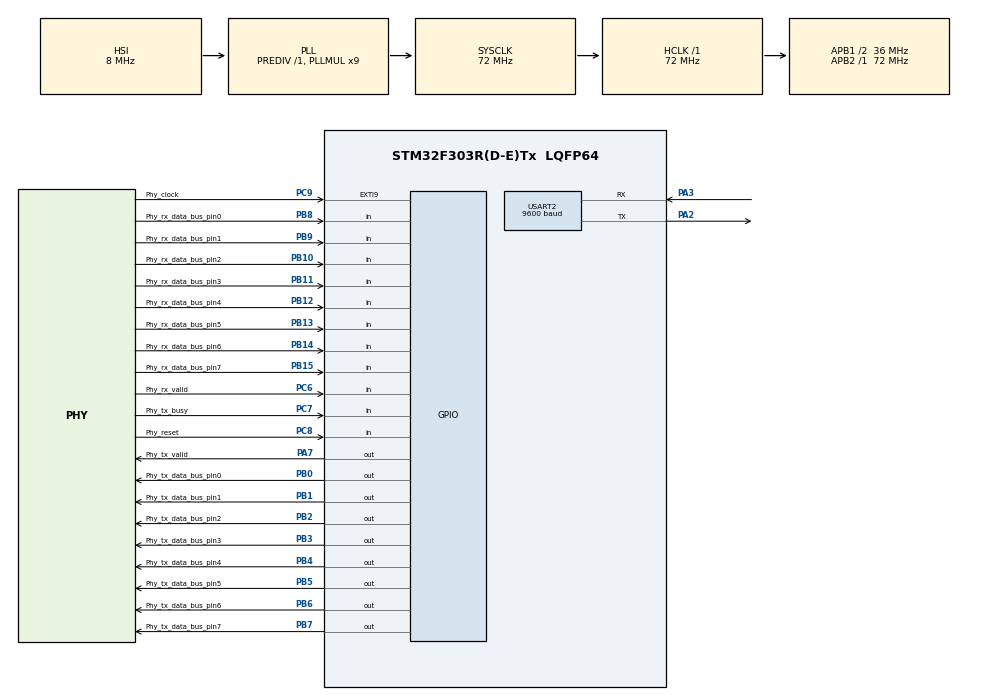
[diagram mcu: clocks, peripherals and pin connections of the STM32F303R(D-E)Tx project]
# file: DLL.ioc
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Mcu.Family=STM32F3
Mcu.Name=STM32F303R(D-E)Tx
Mcu.Package=LQFP64
Mcu.UserConstants=PSC_2KHZ,36000;ARR_2HZ,1000
NVIC.EXTI9_5_IRQn=true\:0\:0\:false\:true\:false\:1\:true
NVIC.PriorityGroup=NVIC_PRIORITYGROUP_4
NVIC.TIM2_IRQn=true\:0\:0\:false\:false\:true\:true
NVIC.TIM3_IRQn=true\:0\:0\:false\:false\:true\:true
NVIC.USART2_IRQn=true\:0\:0\:false\:true\:false\:2\:true
PA13.Mode=Serial_Wire
PA13.Signal=SYS_JTMS-SWDIO
PA14.Mode=Serial_Wire
PA14.Signal=SYS_JTCK-SWCLK
PA2.Mode=Asynchronous
PA2.Signal=USART2_TX
PA3.Mode=Asynchronous
PA3.Signal=USART2_RX
PA7.GPIO_Label=Phy_tx_valid
PA7.GPIO_ModeDefaultOutputPP=GPIO_MODE_OUTPUT_PP
PA7.GPIO_PuPd=GPIO_PULLDOWN
PA7.GPIO_Speed=GPIO_SPEED_FREQ_HIGH
PA7.Signal=GPIO_Output
PB0.GPIO_Label=Phy_tx_data_bus_pin0
PB0.GPIO_ModeDefaultOutputPP=GPIO_MODE_OUTPUT_PP
PB0.GPIO_PuPd=GPIO_PULLDOWN
PB0.GPIO_Speed=GPIO_SPEED_FREQ_HIGH
PB0.Signal=GPIO_Output
PB1.GPIO_Label=Phy_tx_data_bus_pin1
PB1.GPIO_PuPd=GPIO_PULLDOWN
PB1.GPIO_Speed=GPIO_SPEED_FREQ_HIGH
PB1.Signal=GPIO_Output
PB10.GPIO_Label=Phy_rx_data_bus_pin2
PB10.GPIO_PuPd=GPIO_PULLDOWN
PB10.Signal=GPIO_Input
PB11.GPIO_Label=Phy_rx_data_bus_pin3
PB11.GPIO_PuPd=GPIO_PULLDOWN
PB11.Signal=GPIO_Input
PB12.GPIO_Label=Phy_rx_data_bus_pin4
PB12.GPIO_PuPd=GPIO_PULLDOWN
PB12.Signal=GPIO_Input
PB13.GPIO_Label=Phy_rx_data_bus_pin5
PB13.GPIO_PuPd=GPIO_PULLDOWN
PB13.Signal=GPIO_Input
PB14.GPIO_Label=Phy_rx_data_bus_pin6
PB14.GPIO_PuPd=GPIO_PULLDOWN
PB14.Signal=GPIO_Input
PB15.GPIO_Label=Phy_rx_data_bus_pin7
PB15.GPIO_PuPd=GPIO_PULLDOWN
PB15.Signal=GPIO_Input
PB2.GPIO_Label=Phy_tx_data_bus_pin2
PB2.GPIO_PuPd=GPIO_PULLDOWN
PB2.GPIO_Speed=GPIO_SPEED_FREQ_HIGH
PB2.Signal=GPIO_Output
PB3.GPIO_Label=Phy_tx_data_bus_pin3
PB3.GPIO_PuPd=GPIO_PULLDOWN
PB3.GPIO_Speed=GPIO_SPEED_FREQ_HIGH
PB3.Signal=GPIO_Output
PB4.GPIO_Label=Phy_tx_data_bus_pin4
PB4.GPIO_PuPd=GPIO_PULLDOWN
PB4.GPIO_Speed=GPIO_SPEED_FREQ_HIGH
PB4.Signal=GPIO_Output
PB5.GPIO_Label=Phy_tx_data_bus_pin5
PB5.GPIO_PuPd=GPIO_PULLDOWN
PB5.GPIO_Speed=GPIO_SPEED_FREQ_HIGH
PB5.Signal=GPIO_Output
PB6.GPIO_Label=Phy_tx_data_bus_pin6
PB6.GPIO_PuPd=GPIO_PULLDOWN
PB6.GPIO_Speed=GPIO_SPEED_FREQ_HIGH
PB6.Signal=GPIO_Output
PB7.GPIO_Label=Phy_tx_data_bus_pin7
PB7.GPIO_PuPd=GPIO_PULLDOWN
PB7.GPIO_Speed=GPIO_SPEED_FREQ_HIGH
PB7.Signal=GPIO_Output
PB8.GPIO_Label=Phy_rx_data_bus_pin0
PB8.GPIO_PuPd=GPIO_PULLDOWN
PB8.Signal=GPIO_Input
PB9.GPIO_Label=Phy_rx_data_bus_pin1
PB9.GPIO_PuPd=GPIO_PULLDOWN
PB9.Signal=GPIO_Input
PC6.GPIO_Label=Phy_rx_valid
PC6.GPIO_PuPd=GPIO_PULLDOWN
PC6.Signal=GPIO_Input
PC7.GPIO_Label=Phy_tx_busy
PC7.GPIO_PuPd=GPIO_PULLDOWN
PC7.Signal=GPIO_Input
PC8.GPIO_Label=Phy_reset
PC8.GPIO_PuPd=GPIO_PULLDOWN
PC8.Signal=GPIO_Input
PC9.GPIO_Label=Phy_clock
PC9.GPIO_ModeDefaultEXTI=GPIO_MODE_IT_RISING_FALLING
PC9.GPIO_PuPd=GPIO_PULLDOWN
PC9.Signal=GPXTI9
ProjectManager.HeapSize=0xe000
ProjectManager.StackSize=0x1400
ProjectManager.TargetToolchain=MDK-ARM V5
RCC.AHBFreq_Value=72000000
RCC.APB1CLKDivider=RCC_HCLK_DIV2
RCC.APB1Freq_Value=36000000
RCC.APB1TimFreq_Value=72000000
RCC.APB2Freq_Value=72000000
RCC.APB2TimFreq_Value=72000000
RCC.CortexFreq_Value=72000000
RCC.HCLKFreq_Value=72000000
RCC.HSE_VALUE=8000000
RCC.HSI_VALUE=8000000
RCC.LSE_VALUE=32768
RCC.PLLMUL=RCC_PLL_MUL9
RCC.SYSCLKFreq_VALUE=72000000
RCC.SYSCLKSourceVirtual=RCC_SYSCLKSOURCE_PLLCLK
RCC.USBFreq_Value=72000000
TIM2.Period=6999999
TIM2.Prescaler=999
TIM3.Period=999
TIM3.Prescaler=917
USART2.BaudRate=9600
USART2.VirtualMode-Asynchronous=VM_ASYNC
USART2.WordLength=WORDLENGTH_8B
VP_CRC_VS_CRC.Mode=CRC_Activate
VP_TIM2_VS_ClockSourceINT.Mode=Internal
VP_TIM3_VS_ClockSourceINT.Mode=Internal
board=DLL

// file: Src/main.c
/**
  ******************************************************************************
  * @file           : main.c
  * @brief          : Main program body
  ******************************************************************************
  ** This notice applies to any and all portions of this file
  * that are not between comment pairs USER CODE BEGIN and
  * USER CODE END. Other portions of this file, whether
  * inserted by the user or by software development tools
  * are owned by their respective copyright owners.
  *
  * COPYRIGHT(c) 2020 STMicroelectronics
  *
  * Redistribution and use in source and binary forms, with or without modification,
  * are permitted provided that the following conditions are met:
  *   1. Redistributions of source code must retain the above copyright notice,
  *      this list of conditions and the following disclaimer.
  *   2. Redistributions in binary form must reproduce the above copyright notice,
  *      this list of conditions and the following disclaimer in the documentation
  *      and/or other materials provided with the distribution.
  *   3. Neither the name of STMicroelectronics nor the names of its contributors
  *      may be used to endorse or promote products derived from this software
  *      without specific prior written permission.
  *
  * THIS SOFTWARE IS PROVIDED BY THE COPYRIGHT HOLDERS AND CONTRIBUTORS "AS IS"
  * AND ANY EXPRESS OR IMPLIED WARRANTIES, INCLUDING, BUT NOT LIMITED TO, THE
  * IMPLIED WARRANTIES OF MERCHANTABILITY AND FITNESS FOR A PARTICULAR PURPOSE ARE
  * DISCLAIMED. IN NO EVENT SHALL THE COPYRIGHT HOLDER OR CONTRIBUTORS BE LIABLE
  * FOR ANY DIRECT, INDIRECT, INCIDENTAL, SPECIAL, EXEMPLARY, OR CONSEQUENTIAL
  * DAMAGES (INCLUDING, BUT NOT LIMITED TO, PROCUREMENT OF SUBSTITUTE GOODS OR
  * SERVICES; LOSS OF USE, DATA, OR PROFITS; OR BUSINESS INTERRUPTION) HOWEVER
  * CAUSED AND ON ANY THEORY OF LIABILITY, WHETHER IN CONTRACT, STRICT LIABILITY,
  * OR TORT (INCLUDING NEGLIGENCE OR OTHERWISE) ARISING IN ANY WAY OUT OF THE USE
  * OF THIS SOFTWARE, EVEN IF ADVISED OF THE POSSIBILITY OF SUCH DAMAGE.
  *
  ******************************************************************************
  */
#include "main.h"
#include "stm32f3xx_hal.h"

/* USER CODE BEGIN Includes */
#include <stdlib.h>
#include "Ethernet.h"
#include "template.h"
//#include <stdio.h>
//#include <time.h>

#define DEBUG debug()
#define payload_error  11
#define crc_error 12
#define frame_size_error 13
#define clear 14

/* USER CODE END Includes */

CRC_HandleTypeDef hcrc;

TIM_HandleTypeDef htim2;
TIM_HandleTypeDef htim3;

UART_HandleTypeDef huart2;

/* USER CODE BEGIN PV */
/* Private variables ---------------------------------------------------------*/
uint32_t payload_size=0;
int ifg_tx_flag=1;
int ifg_rx_flag=0;
static int rrand=0;
uint8_t crc =0; ;
int ready_for_llc=0;
static Ethernet_res frame_build ;
static uint8_t new_frame[1522];
int times_out =0;
static int got_ack=0;
static int sub_llc_ready=0;
Ethernet_req* temp;
uint8_t myMAC[] ={0xcc,0xcc,0xcc,0xcc,0xcc,0xcc}; 	//Our MAC address
uint8_t PSN =0;
uint8_t ACK =0;
int llc_Rx_ready=0;
static int type =0;
Ethernet_req* ack_frame;

/* USER CODE END PV */

void SystemClock_Config(void);
static void MX_GPIO_Init(void);
static void MX_USART2_UART_Init(void);
static void MX_CRC_Init(void);
static void MX_TIM2_Init(void);
static void MX_TIM3_Init(void);
static void MX_NVIC_Init(void);

/* USER CODE BEGIN PFP */
/* Private function prototypes -----------------------------------------------*/
//for debug
	uint8_t tx_data_wire = 0;
	uint8_t tx_vld_wire = 0;
	uint8_t phy_clk_wire = 0;
	uint8_t phy_busy_wire = 0;
	uint8_t phy_reset_wire = 0;
	uint8_t rx_data_wire = 0;
	uint8_t rx_vld_wire = 0;

void debug(void)
{
	 tx_data_wire = (uint8_t)((Phy_tx_data_bus_pin0_GPIO_Port->IDR) & 0x0FF);
	 tx_vld_wire = (uint8_t)HAL_GPIO_ReadPin(Phy_tx_valid_GPIO_Port, Phy_tx_valid_Pin);
	 phy_clk_wire = (uint8_t)HAL_GPIO_ReadPin(Phy_clock_GPIO_Port, Phy_clock_Pin);
	 phy_busy_wire = (uint8_t)HAL_GPIO_ReadPin(Phy_tx_busy_GPIO_Port, Phy_tx_busy_Pin);
	 phy_reset_wire = (uint8_t)HAL_GPIO_ReadPin(Phy_reset_GPIO_Port, Phy_reset_Pin);
	 rx_data_wire = (uint8_t)((Phy_rx_data_bus_pin0_GPIO_Port->IDR)>>8);
	 rx_vld_wire = (uint8_t)HAL_GPIO_ReadPin(Phy_rx_valid_GPIO_Port, Phy_rx_valid_Pin);
}
	//end debug

/* USER CODE END PFP */

/* USER CODE BEGIN 0 */

/* Dll Rx functions */
extern uint8_t isRxByteReady(void);									//check if there is new byte received from phy.
extern uint8_t getByte(void); 											//get byte from phy, it's mandatory to use "isRxByteReady()" before calling this function.

/* Dll Tx functions */
extern uint8_t isPhyTxReady(void);									//check if the phy_Tx ready to get another byte to send.
extern uint8_t sendByte(uint8_t data); 							//sent byte to phy, it's mandatory to use "isPhyTxReady()" before call this function
extern uint8_t isNewTxRequest(void); 								//check if the upper_layer sent us new data to transmit.
extern Ethernet_req* getTxRequeset(void);						//get from upper_layer data to transmit, it's mandatory to use "isNewTxRequest()" before call this function.
//Important! - after finish using the Ethernet_req struct, you have to free it and also free the Ethernet_req.payload.

	int Randoms(int lower, int upper)
	{
        int num = (rand() %
           (upper - lower + 1)) + lower;
						if (num==1)
							num=0;
						else
							num=1;
				return num;
	}

	void Sub_LLC()
	{
		static int tikon=0;
		static int first_time=1;
		static int new_size[2]={0,0};
		if(first_time)
		{
			if (isNewTxRequest())
			{
				HAL_TIM_Base_Stop_IT(&htim2);
				first_time=0;
				temp = getTxRequeset();
				//rand=Randoms(1,3);
				if (rrand)
				{
					printf("New packet");
					temp->typeLength[0] = 0x88;
					temp->typeLength[1] = 0x08;
					PSN=1-PSN;
					ACK =0;
					sub_llc_ready=1;
				}
				else
				{
					printf("Old packet");
					temp->typeLength[0] = 0x00;
					temp->typeLength[1] = 0x00;
					sub_llc_ready=1;
					ACK = 0;
					got_ack = 1;
				}
			}
		}
		else if (ready_for_llc)
		{
			if (frame_build.typeLength[1]==0x08 && frame_build.typeLength[0]==0x88 )
			{

				if(frame_build.payload[0] == 0)
				{
					ACK=1;
					sub_llc_ready=1;
					llc_Rx_ready=1;
					ack_frame->payloadSize[0]=0;
					ack_frame->payloadSize[1]=0;
					ack_frame->typeLength[0]=0x88;
					ack_frame->typeLength[1]=0x08;
					//new_size[0]=temp->payloadSize[0];
					//new_size[1]=temp->payloadSize[1];
					//temp->payloadSize[0]=0;
					//temp->payloadSize[1]=0;
					for(int p=0;p<6;p++)
					{
						ack_frame->sourceMac[p]=temp->destinationMac[p];
						ack_frame->destinationMac[p] = myMAC[p];
					}
				}
				else
				{
					got_ack=1;
					HAL_TIM_Base_Stop_IT(&htim2);
					printf("\r\nGot that ACK bro\r\n");
				}
			}
			else
			{
				llc_Rx_ready=1;
			}
			ready_for_llc=0;
		}
		else if (times_out==0 && got_ack)
		{
			HAL_TIM_Base_Stop_IT(&htim2);
			if (temp!=NULL)
			{
				free((void*)temp->payload);
				free(temp);
				temp=NULL;
			}
			if (isNewTxRequest())
			{
				//stop timer
				temp = getTxRequeset();
				rrand=Randoms(1,3);
				if (rrand)
				{
					printf("New packet");
					temp->typeLength[0] = 0x88;
					temp->typeLength[1] = 0x08;
					PSN=1-PSN;
					ACK =0;
					sub_llc_ready=1;
				}
				else
				{
					printf("Old packet");
					temp->typeLength[0] = 0x00;
					temp->typeLength[1] = 0x00;
					sub_llc_ready=1;
					ACK=0;
				}
				got_ack=0;
			}
		}
		else if(times_out && !got_ack)
		{
			HAL_TIM_Base_Stop_IT(&htim2);
			times_out=0;
			ACK=0;
			sub_llc_ready=1;		//resend || maybe reset stuff
		}
	}

	void Mac_Tx()
	{
		static int flagi2=1;
		static int frame_size=0;
		static int j=0;
		static uint8_t *frame;
		static int flagi=0;
		static int size=0;
		static int i=0;
		if (sub_llc_ready)
		{
				//printf("here");
				type = temp->typeLength[1]+256*temp->typeLength[0];
				//got_ack=1; //if there is error maybe shoouldnt put it 1
				if (ifg_tx_flag)
				{
				sub_llc_ready=0;
				size=(temp->payloadSize[0] + (temp->payloadSize[1]*256));
				if(ACK)
				{
					size=2;
				}
				if (size<=42)
				{
					frame = (uint8_t*) malloc(72*sizeof(uint8_t)); //--------------
				}
				else
				{
					frame = (uint8_t*) malloc((size+30)*sizeof(uint8_t)); //-----------

				}
				for(i=0; i<8;i++)
				{
					if(i!=7)
					{
						frame[i]=0xAA;

					}
					else
					{
						frame[i]=0xAB;

					}
				}
				for(i=8;i<14;i++)
				{
					if (i==8)
					{
						if(ACK)
						{
							frame[i]=ack_frame->destinationMac[i-8];
							HAL_CRC_Calculate(&hcrc,(uint32_t*)&(temp->destinationMac[i-8]),1);
						}
						else
						{

							frame[i]=temp->destinationMac[i-8];

							HAL_CRC_Calculate(&hcrc,(uint32_t*)&(temp->destinationMac[i-8]),1);
						}
					}
					else
					{
						if(ACK)
						{
							frame[i]=ack_frame->destinationMac[i-8];
							crc = HAL_CRC_Accumulate(&hcrc,(uint32_t*)&(temp->destinationMac[i-8]),1);
						}
						else
						{

							frame[i]=temp->destinationMac[i-8];

							crc = HAL_CRC_Accumulate(&hcrc,(uint32_t*)&(temp->destinationMac[i-8]),1);
						}

					}
				}
				for(i=14;i<20;i++)
				{
					if (ACK)
					{
						frame[i]=ack_frame->sourceMac[i-14];
						crc = HAL_CRC_Accumulate(&hcrc,(uint32_t*)&(ack_frame->sourceMac[i-14]),1);
					}
					else
					{

						frame[i]=myMAC[i-14];

						crc = HAL_CRC_Accumulate(&hcrc,(uint32_t*)&(myMAC[i-14]),1);
					}
				}
				for(i=20;i<24;i++)
				{

					frame[i]=0;

					crc = HAL_CRC_Accumulate(&hcrc,(uint32_t*)&(frame[i]),1);
				}
				for(i=24;i<26;i++)
				{
					if(type == 0)
					{
						got_ack=1;
						frame[i]=temp->payloadSize[i-24];
						crc = HAL_CRC_Accumulate(&hcrc,(uint32_t*)&(temp->payloadSize[i-24]),1);
					}
					else
					{
						if(ACK)
						{
							if(i==24)
							{
								frame[25]=ack_frame->typeLength[0];
								crc = HAL_CRC_Accumulate(&hcrc,(uint32_t*)&(ack_frame->typeLength[0]),1);
							}
							else
							{
								frame[24]=ack_frame->typeLength[1];
								crc = HAL_CRC_Accumulate(&hcrc,(uint32_t*)&(ack_frame->typeLength[1]),1);
							}
						}
						else
						{

							if(i==24)
							{

								frame[24]=temp->typeLength[1];

								crc = HAL_CRC_Accumulate(&hcrc,(uint32_t*)&(temp->typeLength[1]),1);
							}
							else
							{

								frame[25]=temp->typeLength[0];

								crc = HAL_CRC_Accumulate(&hcrc,(uint32_t*)&(temp->typeLength[0]),1);
							}
						}
					}
				}
				for(i=26;i<size+26;i++)
				{
					if (type == 0)
					{
						frame[i]=temp->payload[i-26];
						crc = HAL_CRC_Accumulate(&hcrc,(uint32_t*)&(temp->payload[i-26]),1);
					}
					else
					{
						if (i==26)
						{

							size+=4;
							frame[26]=ACK;
							crc = HAL_CRC_Accumulate(&hcrc,(uint32_t*)&(ACK),1);
							frame[27]=PSN;
							crc = HAL_CRC_Accumulate(&hcrc,(uint32_t*)&(PSN),1);

							if(ACK)
							{
								frame[28]=ack_frame->payloadSize[0];
								crc = HAL_CRC_Accumulate(&hcrc,(uint32_t*)&(ack_frame->payloadSize[0]),1);
								frame[29]=ack_frame->payloadSize[1];
								crc = HAL_CRC_Accumulate(&hcrc,(uint32_t*)&(ack_frame->payloadSize[1]),1);
								i=29;
							}
							else
							{
								frame[28]=temp->payloadSize[0];
								crc = HAL_CRC_Accumulate(&hcrc,(uint32_t*)&(temp->payloadSize[0]),1);
								frame[29]=temp->payloadSize[1];
								crc = HAL_CRC_Accumulate(&hcrc,(uint32_t*)&(temp->payloadSize[1]),1);

								i=29;
							}
						}
						else
						{
							if (ACK)
							{
								frame[i]=ack_frame->payload[i-30];
								crc = HAL_CRC_Accumulate(&hcrc,(uint32_t*)&(ack_frame->payload[i-30]),1);
							}
							else
							{
								frame[i]=temp->payload[i-30];

								crc = HAL_CRC_Accumulate(&hcrc,(uint32_t*)&(temp->payload[i-30]),1);
							}
						}
					}
				}
				if (new_frame[24]!=0x08 && new_frame[25]!=0x88)
				{
					for(i=26+size;i<68;i++)
					{
						frame[i]=0;
						crc = HAL_CRC_Accumulate(&hcrc,(uint32_t*)&(frame[i]),1);
					}
				}
				else
				{
					for(i=26+size;i<68;i++)
					{

						frame[i]=0;

						crc = HAL_CRC_Accumulate(&hcrc,(uint32_t*)&(frame[i]),1);
					}
				}
				if(size<42)
				{
					i=68;
					frame_size=72;

				}
				else
				{
					i=26+size;
					frame_size=30+size;
				}
				frame[i]=crc&0xFF;
				frame[i+1]=crc&0xFF00;
				frame[i+2]=crc&0xFF0000;
				frame[i+3]=crc&0xFF000000;

				//in the end of using 'temp' you have to free memory:
					flagi=1;

				}
			//------

		}
		if (isPhyTxReady()&&flagi)
		{
			if (type!=0x0000)
			{
				HAL_TIM_Base_Start_IT(&htim2);
			}
			if(j< frame_size)
			{
				//if(ACK)
				sendByte(frame[j]);
				j++;
			}
			else
			{
				ifg_tx_flag=0;
				size=0;
				j=0;
				i=0;
				flagi=0;
				HAL_TIM_Base_Start_IT(&htim3);
			}
			//printf("raziboi");
		}
	}

	void Mac_Rx()
	{
		static int clock_flag=0;
		static int k = 0;
		static uint8_t new_crc=0;
		static uint8_t old_crc=0;
		static int flag=1;
		static int i2=0;
		static int i3=0;
		static int madpis=1;
		static int timerlike = 0;
		static uint8_t ok =0xaa;
		if(isRxByteReady())
		{
			if (clock_flag ==1)
				{
					//HAL_TIM_Base_Stop_IT(&htim2);
					clock_flag=0;
					timerlike=0;
				}
			if (k==0)
			{
				new_frame[k] = getByte();
		//	printf("%x",new_frame[k]);
				k++;
			}
			else
			{
			//	new_frame = (uint8_t*) calloc(1,sizeof(uint8_t));	//--------------------
				if(k<1522)
				{
					new_frame[k] = getByte();
					//printf("%d:%x,",k,new_frame[k]);
					k++;
				}
				else
				{
					//syndrom
					//erorr
				}
			}

			//HAL_TIM_Base_Start_IT(&htim2);
			clock_flag=1;
		}
		else
		{
			if(clock_flag==1)
				timerlike++;
		}
		if (timerlike==100000)
		{
			//HAL_TIM_Base_Stop_IT(&htim2);
			clock_flag=0;
			timerlike=0;
			frame_build.syndrom = clear;
			hcrc.Init.DefaultInitValueUse = DEFAULT_INIT_VALUE_ENABLE;
			for(i2=8;i2<k-4;i2++)
			{
				//printf("%d:%x,",i2,new_frame[i2]);
				if(i2==8)
					new_crc = HAL_CRC_Calculate(&hcrc,(uint32_t*)&(new_frame[i2]),1);
				else
				{
				new_crc = HAL_CRC_Accumulate(&hcrc,(uint32_t*)&(new_frame[i2]),1);
				}
			}
			old_crc = new_frame[k-4];
			old_crc += new_frame[k-3]*256;
			old_crc += new_frame[k-2]*65536;
			old_crc += new_frame[k-1]*(2^24);
			if (old_crc!=new_crc)
			{
				if (new_frame[24]!=0x08 && new_frame[25]!=0x88)
				{
					llc_Rx_ready=1;
					frame_build.typeLength[0] = 0;
					frame_build.typeLength[1] = 0;
				}
				else
				{
					ready_for_llc=1;
				}
				frame_build.syndrom = crc_error;

				flag=1;
				old_crc=0;
				new_crc=0;
				payload_size=0;
				k=0;
				i2=0;
				i3=0;
				ifg_rx_flag=0;
			}
			else
			{
				for(i3=8; i3<k;i3++)
				{
					if ((i3>=8)&&(i3<14))
					{
						frame_build.destinationMac[i3-8] = new_frame[i3];
					}
					if((i3>=14)&&(i3<20))
					{
						frame_build.sourceMac[i3-14] = new_frame[i3];
					}
					if(i3>=24&&i3<=25)
					{
						if (new_frame[24]!=0x08 && new_frame[25]!=0x88)
						{
							frame_build.typeLength[0] = 0;
							frame_build.typeLength[1] = 0;
							if (i3==24)
							{
								frame_build.payloadSize[i3-24]=new_frame[i3+1];
							}
							if (i3==25)
							{
								frame_build.payloadSize[i3-24]=new_frame[i3-1];
								payload_size = new_frame[i3-1]+new_frame[i3]*256;
								if(payload_size>1500)
								{
									frame_build.syndrom = payload_error;
									ready_for_llc=1;
									flag=1;
									old_crc=0;
									new_crc=0;
									payload_size=0;
									k=0;
									i2=0;
									i3=0;
									ifg_rx_flag=0;
								}
								frame_build.payload = (uint8_t*) malloc((payload_size)*(sizeof(uint8_t))); //---------------------------
							}
						}
							else
						{

							if(i3==24)
							{
								frame_build.typeLength[0]=0x88;
							}
							if (i3==25)
							{
								frame_build.typeLength[1]=0x08;
								payload_size = (new_frame[28]+new_frame[29]*256)+4;
								//printf("%d",payload_size);
								if(payload_size>1500)
								{
									frame_build.syndrom = payload_error;
									ready_for_llc=1;
									flag=1;
									old_crc=0;
									new_crc=0;
									payload_size=0;
									k=0;
									i2=0;
									i3=0;
									ifg_rx_flag=0;
								}
								frame_build.payload = (uint8_t*) malloc((payload_size)*(sizeof(uint8_t)));
							}
						}
					}

					if ((i3>=26)&&(i3<26+payload_size))
					{
						if (new_frame[24]!=0x08 && new_frame[25]!=0x88)
						{
							frame_build.payload[i3-26]=new_frame[i3];
						}
						else
						{
							if (i3==26||i3==27)
							{
								frame_build.payload[i3-26]=new_frame[i3];
							}
							else if (i3==28)
							{
								frame_build.payloadSize[i3-28]=new_frame[i3+1];
							}
							else if (i3==29)
							{
								frame_build.payloadSize[i3-28]=new_frame[i3-1];
							}
							else
							{
								frame_build.payload[i3-28]=new_frame[i3];
							}
						}
					}
				}
			}

			ready_for_llc=1;
			flag=1;
			old_crc=0;
			new_crc=0;
			payload_size=0;
			k=0;
			i2=0;
			i3=0;
			ifg_rx_flag=0;
	}
}

	void LLC_Rx()
	{
		static int i=0; //check if need to reset the I each time
		static int raz=0;
		if(llc_Rx_ready)		{
			payload_size = (frame_build.payloadSize[0]*256);
			payload_size+=frame_build.payloadSize[1];
			printf("\r\nNew frame is ready:");
			switch(frame_build.syndrom)
			{
				case clear:
					printf("\r\nDestination Address:");
					for(i=0; i<6;i++)
					{
						printf("%x",frame_build.destinationMac[i]);
					}
					printf("\r\nSource Address:");
					for(i=0;i<6;i++)
					{
						printf("%x",frame_build.sourceMac[i]);
					}
					printf("\r\nData:");
					if(type!=0)
					{
						raz=2;
						payload_size+=2;
					}
					else
						raz=0;
					for(i=raz;i<payload_size;i++)
					{
							printf("%c",frame_build.payload[i]);
					}
					break;
				case frame_size_error:
					printf("\r\nFrame size is wrong");
					break;
				case crc_error:
					printf("\r\nData corrupted");
					break;
				case payload_error:
					printf("\r\npayload_size is too big");
					break;

			}
			free((void*)frame_build.payload);
			i=0;
			llc_Rx_ready=0;
		}
	}

/* USER CODE END 0 */

int main(void)
{

  /* MCU Configuration----------------------------------------------------------*/

  /* Reset of all peripherals, Initializes the Flash interface and the Systick. */
  HAL_Init();

  /* Configure the system clock */
  SystemClock_Config();

  /* Initialize all configured peripherals */
  MX_GPIO_Init();
  MX_USART2_UART_Init();
  MX_CRC_Init();
  MX_TIM2_Init();
  MX_TIM3_Init();

  /* Initialize interrupts */
  MX_NVIC_Init();
  /* USER CODE BEGIN 2 */
	printf("------------------------------------------------------------\r\n");
	printf("DLL is On! DLL will print Rx data and Tx data \r\n(My MAC address is: %02X:%02X:%02X:%02X:%02X:%02X)\r\n",
				myMAC[0],myMAC[1],myMAC[2],myMAC[3],myMAC[4],myMAC[5]);
	printf("------------------------------------------------------------\r\n");
	printf("Press any key to start\r\n");
	DllAlive = 1; //DLL is on!
	__HAL_RCC_CRC_CLK_ENABLE();
  /* USER CODE END 2 */

  /* Infinite loop */
  /* USER CODE BEGIN WHILE */
	ack_frame = (Ethernet_req*)malloc(sizeof(Ethernet_req));
	while (1)
  {
		//DLL functions - DO NOT TOUCH
		HAL_UART_Receive_IT(&huart2,&recieved_value,1);
		printer();
		DEBUG;
		//End Of DLL functions
		Sub_LLC();
		Mac_Tx();
		Mac_Rx();
		LLC_Rx();

  /* USER CODE END WHILE */

  /* USER CODE BEGIN 3 */

		/* ~Exmple of Tx_flow:~ */
		/*if (isNewTxRequest())
		{
			Ethernet_req* temp = getTxRequeset();

			... some code ...

			in the end of using 'temp' you have to free memory:
			free((void*)temp->payload);
			free(temp);
		}*/

  }
  /* USER CODE END 3 */

}

void SystemClock_Config(void)
{

  RCC_OscInitTypeDef RCC_OscInitStruct;
  RCC_ClkInitTypeDef RCC_ClkInitStruct;
  RCC_PeriphCLKInitTypeDef PeriphClkInit;

    /**Initializes the CPU, AHB and APB busses clocks
    */
  RCC_OscInitStruct.OscillatorType = RCC_OSCILLATORTYPE_HSI;
  RCC_OscInitStruct.HSIState = RCC_HSI_ON;
  RCC_OscInitStruct.HSICalibrationValue = 16;
  RCC_OscInitStruct.PLL.PLLState = RCC_PLL_ON;
  RCC_OscInitStruct.PLL.PLLSource = RCC_PLLSOURCE_HSI;
  RCC_OscInitStruct.PLL.PLLMUL = RCC_PLL_MUL9;
  RCC_OscInitStruct.PLL.PREDIV = RCC_PREDIV_DIV1;
  if (HAL_RCC_OscConfig(&RCC_OscInitStruct) != HAL_OK)
  {
    _Error_Handler(__FILE__, __LINE__);
  }

    /**Initializes the CPU, AHB and APB busses clocks
    */
  RCC_ClkInitStruct.ClockType = RCC_CLOCKTYPE_HCLK|RCC_CLOCKTYPE_SYSCLK
                              |RCC_CLOCKTYPE_PCLK1|RCC_CLOCKTYPE_PCLK2;
  RCC_ClkInitStruct.SYSCLKSource = RCC_SYSCLKSOURCE_PLLCLK;
  RCC_ClkInitStruct.AHBCLKDivider = RCC_SYSCLK_DIV1;
  RCC_ClkInitStruct.APB1CLKDivider = RCC_HCLK_DIV2;
  RCC_ClkInitStruct.APB2CLKDivider = RCC_HCLK_DIV1;

  if (HAL_RCC_ClockConfig(&RCC_ClkInitStruct, FLASH_LATENCY_2) != HAL_OK)
  {
    _Error_Handler(__FILE__, __LINE__);
  }

  PeriphClkInit.PeriphClockSelection = RCC_PERIPHCLK_USART2|RCC_PERIPHCLK_TIM2
                              |RCC_PERIPHCLK_TIM34;
  PeriphClkInit.Usart2ClockSelection = RCC_USART2CLKSOURCE_PCLK1;
  PeriphClkInit.Tim2ClockSelection = RCC_TIM2CLK_HCLK;
  PeriphClkInit.Tim34ClockSelection = RCC_TIM34CLK_HCLK;
  if (HAL_RCCEx_PeriphCLKConfig(&PeriphClkInit) != HAL_OK)
  {
    _Error_Handler(__FILE__, __LINE__);
  }

    /**Configure the Systick interrupt time
    */
  HAL_SYSTICK_Config(HAL_RCC_GetHCLKFreq()/1000);

    /**Configure the Systick
    */
  HAL_SYSTICK_CLKSourceConfig(SYSTICK_CLKSOURCE_HCLK);

  /* SysTick_IRQn interrupt configuration */
  HAL_NVIC_SetPriority(SysTick_IRQn, 0, 0);
}

/**
  * @brief NVIC Configuration.
  * @retval None
  */
static void MX_NVIC_Init(void)
{
  /* EXTI9_5_IRQn interrupt configuration */
  HAL_NVIC_SetPriority(EXTI9_5_IRQn, 0, 0);
  HAL_NVIC_EnableIRQ(EXTI9_5_IRQn);
  /* USART2_IRQn interrupt configuration */
  HAL_NVIC_SetPriority(USART2_IRQn, 0, 0);
  HAL_NVIC_EnableIRQ(USART2_IRQn);
}

/* CRC init function */
static void MX_CRC_Init(void)
{

  hcrc.Instance = CRC;
  hcrc.Init.DefaultPolynomialUse = DEFAULT_POLYNOMIAL_ENABLE;
  hcrc.Init.DefaultInitValueUse = DEFAULT_INIT_VALUE_ENABLE;
  hcrc.Init.InputDataInversionMode = CRC_INPUTDATA_INVERSION_NONE;
  hcrc.Init.OutputDataInversionMode = CRC_OUTPUTDATA_INVERSION_DISABLE;
  hcrc.InputDataFormat = CRC_INPUTDATA_FORMAT_BYTES;
  if (HAL_CRC_Init(&hcrc) != HAL_OK)
  {
    _Error_Handler(__FILE__, __LINE__);
  }

}

/* TIM2 init function */
static void MX_TIM2_Init(void)
{

  TIM_ClockConfigTypeDef sClockSourceConfig;
  TIM_MasterConfigTypeDef sMasterConfig;

  htim2.Instance = TIM2;
  htim2.Init.Prescaler = 999;
  htim2.Init.CounterMode = TIM_COUNTERMODE_UP;
  htim2.Init.Period = 6999999;
  htim2.Init.ClockDivision = TIM_CLOCKDIVISION_DIV1;
  htim2.Init.AutoReloadPreload = TIM_AUTORELOAD_PRELOAD_DISABLE;
  if (HAL_TIM_Base_Init(&htim2) != HAL_OK)
  {
    _Error_Handler(__FILE__, __LINE__);
  }

  sClockSourceConfig.ClockSource = TIM_CLOCKSOURCE_INTERNAL;
  if (HAL_TIM_ConfigClockSource(&htim2, &sClockSourceConfig) != HAL_OK)
  {
    _Error_Handler(__FILE__, __LINE__);
  }

  sMasterConfig.MasterOutputTrigger = TIM_TRGO_RESET;
  sMasterConfig.MasterSlaveMode = TIM_MASTERSLAVEMODE_DISABLE;
  if (HAL_TIMEx_MasterConfigSynchronization(&htim2, &sMasterConfig) != HAL_OK)
  {
    _Error_Handler(__FILE__, __LINE__);
  }

}

/* TIM3 init function */
static void MX_TIM3_Init(void)
{

  TIM_ClockConfigTypeDef sClockSourceConfig;
  TIM_MasterConfigTypeDef sMasterConfig;

  htim3.Instance = TIM3;
  htim3.Init.Prescaler = 917;
  htim3.Init.CounterMode = TIM_COUNTERMODE_UP;
  htim3.Init.Period = 999;
  htim3.Init.ClockDivision = TIM_CLOCKDIVISION_DIV1;
  htim3.Init.AutoReloadPreload = TIM_AUTORELOAD_PRELOAD_DISABLE;
  if (HAL_TIM_Base_Init(&htim3) != HAL_OK)
  {
    _Error_Handler(__FILE__, __LINE__);
  }

  sClockSourceConfig.ClockSource = TIM_CLOCKSOURCE_INTERNAL;
  if (HAL_TIM_ConfigClockSource(&htim3, &sClockSourceConfig) != HAL_OK)
  {
    _Error_Handler(__FILE__, __LINE__);
  }

  sMasterConfig.MasterOutputTrigger = TIM_TRGO_RESET;
  sMasterConfig.MasterSlaveMode = TIM_MASTERSLAVEMODE_DISABLE;
  if (HAL_TIMEx_MasterConfigSynchronization(&htim3, &sMasterConfig) != HAL_OK)
  {
    _Error_Handler(__FILE__, __LINE__);
  }

}

/* USART2 init function */
static void MX_USART2_UART_Init(void)
{

  huart2.Instance = USART2;
  huart2.Init.BaudRate = 9600;
  huart2.Init.WordLength = UART_WORDLENGTH_8B;
  huart2.Init.StopBits = UART_STOPBITS_1;
  huart2.Init.Parity = UART_PARITY_NONE;
  huart2.Init.Mode = UART_MODE_TX_RX;
  huart2.Init.HwFlowCtl = UART_HWCONTROL_NONE;
  huart2.Init.OverSampling = UART_OVERSAMPLING_16;
  huart2.Init.OneBitSampling = UART_ONE_BIT_SAMPLE_DISABLE;
  huart2.AdvancedInit.AdvFeatureInit = UART_ADVFEATURE_NO_INIT;
  if (HAL_UART_Init(&huart2) != HAL_OK)
  {
    _Error_Handler(__FILE__, __LINE__);
  }

}

/** Configure pins as
        * Analog
        * Input
        * Output
        * EVENT_OUT
        * EXTI
*/
static void MX_GPIO_Init(void)
{

  GPIO_InitTypeDef GPIO_InitStruct;

  /* GPIO Ports Clock Enable */
  __HAL_RCC_GPIOA_CLK_ENABLE();
  __HAL_RCC_GPIOB_CLK_ENABLE();
  __HAL_RCC_GPIOC_CLK_ENABLE();

  /*Configure GPIO pin Output Level */
  HAL_GPIO_WritePin(Phy_tx_valid_GPIO_Port, Phy_tx_valid_Pin, GPIO_PIN_RESET);

  /*Configure GPIO pin Output Level */
  HAL_GPIO_WritePin(GPIOB, Phy_tx_data_bus_pin0_Pin|Phy_tx_data_bus_pin1_Pin|Phy_tx_data_bus_pin2_Pin|Phy_tx_data_bus_pin3_Pin
                          |Phy_tx_data_bus_pin4_Pin|Phy_tx_data_bus_pin5_Pin|Phy_tx_data_bus_pin6_Pin|Phy_tx_data_bus_pin7_Pin, GPIO_PIN_RESET);

  /*Configure GPIO pin : Phy_tx_valid_Pin */
  GPIO_InitStruct.Pin = Phy_tx_valid_Pin;
  GPIO_InitStruct.Mode = GPIO_MODE_OUTPUT_PP;
  GPIO_InitStruct.Pull = GPIO_PULLDOWN;
  GPIO_InitStruct.Speed = GPIO_SPEED_FREQ_HIGH;
  HAL_GPIO_Init(Phy_tx_valid_GPIO_Port, &GPIO_InitStruct);

  /*Configure GPIO pins : Phy_tx_data_bus_pin0_Pin Phy_tx_data_bus_pin1_Pin Phy_tx_data_bus_pin2_Pin Phy_tx_data_bus_pin3_Pin
                           Phy_tx_data_bus_pin4_Pin Phy_tx_data_bus_pin5_Pin Phy_tx_data_bus_pin6_Pin Phy_tx_data_bus_pin7_Pin */
  GPIO_InitStruct.Pin = Phy_tx_data_bus_pin0_Pin|Phy_tx_data_bus_pin1_Pin|Phy_tx_data_bus_pin2_Pin|Phy_tx_data_bus_pin3_Pin
                          |Phy_tx_data_bus_pin4_Pin|Phy_tx_data_bus_pin5_Pin|Phy_tx_data_bus_pin6_Pin|Phy_tx_data_bus_pin7_Pin;
  GPIO_InitStruct.Mode = GPIO_MODE_OUTPUT_PP;
  GPIO_InitStruct.Pull = GPIO_PULLDOWN;
  GPIO_InitStruct.Speed = GPIO_SPEED_FREQ_HIGH;
  HAL_GPIO_Init(GPIOB, &GPIO_InitStruct);

  /*Configure GPIO pins : Phy_rx_data_bus_pin2_Pin Phy_rx_data_bus_pin3_Pin Phy_rx_data_bus_pin4_Pin Phy_rx_data_bus_pin5_Pin
                           Phy_rx_data_bus_pin6_Pin Phy_rx_data_bus_pin7_Pin Phy_rx_data_bus_pin0_Pin Phy_rx_data_bus_pin1_Pin */
  GPIO_InitStruct.Pin = Phy_rx_data_bus_pin2_Pin|Phy_rx_data_bus_pin3_Pin|Phy_rx_data_bus_pin4_Pin|Phy_rx_data_bus_pin5_Pin
                          |Phy_rx_data_bus_pin6_Pin|Phy_rx_data_bus_pin7_Pin|Phy_rx_data_bus_pin0_Pin|Phy_rx_data_bus_pin1_Pin;
  GPIO_InitStruct.Mode = GPIO_MODE_INPUT;
  GPIO_InitStruct.Pull = GPIO_PULLDOWN;
  HAL_GPIO_Init(GPIOB, &GPIO_InitStruct);

  /*Configure GPIO pins : Phy_rx_valid_Pin Phy_tx_busy_Pin Phy_reset_Pin */
  GPIO_InitStruct.Pin = Phy_rx_valid_Pin|Phy_tx_busy_Pin|Phy_reset_Pin;
  GPIO_InitStruct.Mode = GPIO_MODE_INPUT;
  GPIO_InitStruct.Pull = GPIO_PULLDOWN;
  HAL_GPIO_Init(GPIOC, &GPIO_InitStruct);

  /*Configure GPIO pin : Phy_clock_Pin */
  GPIO_InitStruct.Pin = Phy_clock_Pin;
  GPIO_InitStruct.Mode = GPIO_MODE_IT_RISING_FALLING;
  GPIO_InitStruct.Pull = GPIO_PULLDOWN;
  HAL_GPIO_Init(Phy_clock_GPIO_Port, &GPIO_InitStruct);

}

void _Error_Handler(char *file, int line)
{
  while(1)
  {
  }
}

/************************ (C) COPYRIGHT STMicroelectronics *****END OF FILE****/
